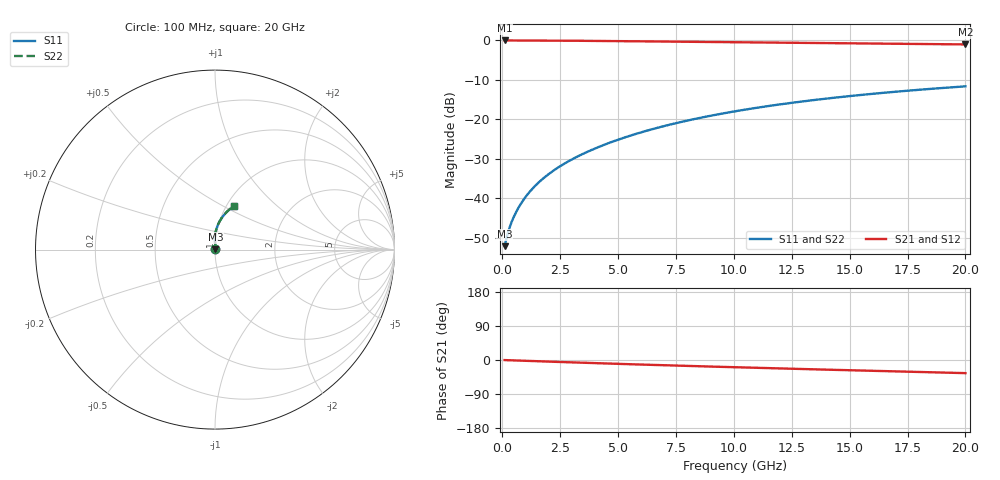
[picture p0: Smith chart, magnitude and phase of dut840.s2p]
! Touchstone file exported from HFSS 2024.1.0
!  File:  C:/UserFiles/LocalFiles/RDL_TSV_Batchsim/temp_RDL_top_840_1779855286.aedt
!  Generated:  12:16:46 PM May 27, 2026
!  Design:  RDL_top
!  Project:  temp_RDL_top_840_1779855286
!  Setup:  Setup1
!  Solution:  Sweep
! Variables:
!  dtsv = 10.80580581um
!  hbump = 3um
!  htsv = 73.57um
!  ldown = 100um
!  lrdl = 529.87um
!  p = 40
!  p1 = 45.92um
!  rhole = 1um
!  t = 450um
!  tdown = 3.915915916um
!  trdl = 3.68um
!  wdown = 15.38538539um
!  wrdl = 26.59um
# GHz S MA R 50.000000
! Terminal data exported
! Port[1] = Box2_T1
! Port[2] = Box2_T2
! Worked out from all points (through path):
!   200 points, 100 MHz to 20 GHz, reference 50 ohm
!   highest |S21| = -0.02 dB at 100 MHz (marker M1); lowest = -1.0 dB at 20 GHz (marker M2)
!   group delay of S21, straight-line fit = 4.74 ps
!   lowest |S11| = -52.1 dB at 100 MHz (marker M3), VSWR 1.00, Z = 50.2 + j0.123 ohm
!   |S11| at or under -10 dB: start of sweep to end of sweep
!   |S22| runs from -52.1 to -11.6 dB; largest |S21 - S12| = 4.2e-15
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0.1  0.002486 29.4  0.9978 -0.2  0.9978 -0.2  0.002486 29.4
! Gamma 0 0 0 0
! Port Impedance 50 0 50 0
0.2  0.003291 45.0  0.9976 -0.4  0.9976 -0.4  0.003291 45.0
0.3  0.004149 53.5  0.9974 -0.7  0.9974 -0.7  0.004149 53.5
0.4  0.005003 59.2  0.9972 -0.9  0.9972 -0.9  0.005003 59.3
0.5  0.005862 63.6  0.9971 -1.1  0.9971 -1.1  0.005862 63.6
0.6  0.006735 67.0  0.9969 -1.3  0.9969 -1.3  0.006735 67.0
0.8  0.00853 72.2  0.9966 -1.7  0.9966 -1.7  0.008529 72.2
1  0.01038 75.8  0.9962 -2.1  0.9962 -2.1  0.01038 75.8
1.2  0.01229 78.5  0.9958 -2.6  0.9958 -2.6  0.01229 78.5
1.7  0.01721 83.0  0.9946 -3.6  0.9946 -3.6  0.01722 83.0
2.2  0.02237 85.7  0.993 -4.6  0.993 -4.6  0.02237 85.7
2.8  0.02884 87.8  0.9906 -5.9  0.9906 -5.9  0.02885 87.9
3.5  0.03681 89.3  0.9873 -7.3  0.9873 -7.3  0.03682 89.4
4.2  0.04522 90.1  0.9836 -8.6  0.9836 -8.6  0.04524 90.1
5  0.05534 90.4  0.9789 -10.2  0.9789 -10.2  0.05537 90.4
6.8  0.07969 89.4  0.9676 -13.5  0.9676 -13.5  0.07975 89.4
8.4  0.1025 87.4  0.9573 -16.3  0.9573 -16.3  0.1026 87.4
10.1  0.1273 84.6  0.9466 -19.2  0.9466 -19.2  0.1274 84.7
11.7  0.1506 81.8  0.9368 -21.8  0.9368 -21.8  0.1508 81.8
13.4  0.175 78.7  0.9266 -24.5  0.9266 -24.5  0.1751 78.7
16.7  0.2202 72.6  0.9076 -29.7  0.9076 -29.7  0.2204 72.6
20  0.262 66.7  0.8891 -34.6  0.8891 -34.6  0.2623 66.8
